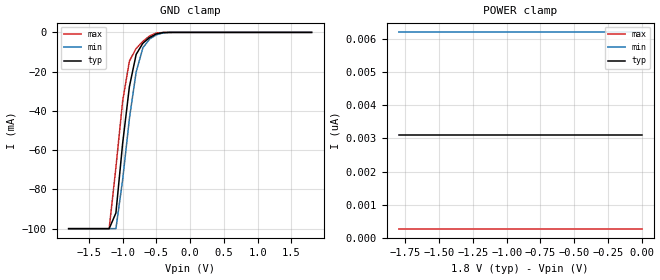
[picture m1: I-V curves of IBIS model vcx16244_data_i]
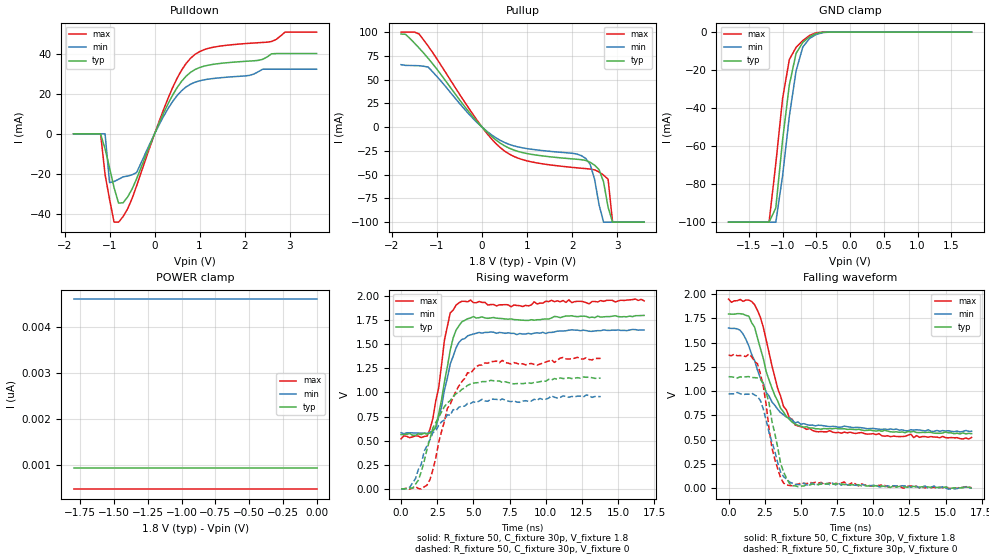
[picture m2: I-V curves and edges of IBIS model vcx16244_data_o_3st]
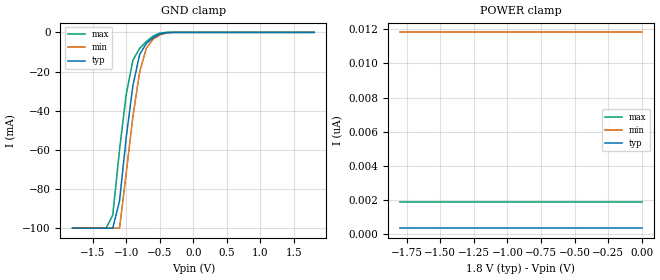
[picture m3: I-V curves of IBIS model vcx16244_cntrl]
|   ON Semiconductor Corporation
|   IBIS Model of 74VCX16244DT
|   Low Voltage 16-Bit Buffer/Line Driver
|   TSSOP_48 (DT) Package Type
[IBIS Ver]   3.2
[Comment Char]   |_char
[File name]   74vcx16244dt_165.ibs
[File Rev]   1.0
[Date]   11/01/02
[Source]
From lab measurements at ON Semiconductor
[Notes]
Created by Duane Mattheisen
Modeling Support Engineer
| This model represents the 74VCX16244DT where 1.65 <= Vcc =< 1.95
[Disclaimer]
ON Semiconductor Corporation hereby grants
the user of this IBIS model a license to use this IBIS
model under the following terms. This license in non-exclusive
and non-transferable. Before using this IBIS model. After reading
the terms and conditions of this license, the user either must accept
these terms, or the IBIS model should be returned to ON within 30 days.
     The user is hereby granted a license to use the
IBIS model. This shall not be construed as a right to sell, or otherwise
profit either by leasing or renting this software.
     The user may modify the IBIS model to suit his specific applications
but rights to derivative works and such modifications shall belong to
ON Semiconductor.
     This IBIS model is provided on an "as is" basis. ON Semiconductor
makes absolutely no warranty with respect to the information contained
herein. By use of this IBIS model, the user assumes full risk as to the
quality and suitability of the model to his particular use, and by using
this model assumes the entire risk. Under all circumstances the user shall
not hold ON Semiconductor liable in any way for the results obtained. ON
Semiconductor reserves the right to make to improve the model for reliability,
function, or design. ON Semiconductor does not convey any license under patent
rights or any other intellectual property rights, including those of third
parties.
ON Semiconductor is not obligated to provide maintenance or support
for the licensed IBIS model.
Cont ON at ATTN:LOGIC APPLICATIONS/IBIS MODEL.
5005 E. McDowell Road, Phoenix AZ 85008
[Copyright]
(c) 2002 ON Semiconductor Corp.
[Component]   74VCX16244
Si_location Pin
Timing_location Pin
[Manufacturer]   ON Semiconductor Corp.
[Package]
R_pkg   130m   100m   140m
L_pkg   3.06n   1.37n   3.57n
C_pkg   0.15p   0.10p   0.20p
[Pin] signal_name   model_name   R_pin   L_pin   C_pin
1   OE1   vcx16244_cntrl   140m   3.56n   .2p
2   O0   vcx16244_data_o_3st  130m   3.34n   .15p
3   o1   vcx16244_data_o_3st  130m   3.07n   .15p
4   GND   GND   130m   2.62n   .13p
5   O2   vcx16244_data_o_3st  120m   2.23n   .1p
6   O3   vcx16244_data_o_3st  120m   1.77n   .1p
7   VCC   POWER   110m   1.65n   .1p
8   O4   vcx16244_data_o_3st  100m   1.59n   .1p
9   O5   vcx16244_data_o_3st  100m   1.53n   .1p
10   GND   GND   100m   1.49n   .1p
11   O6   vcx16244_data_o_3st  100m   1.44n   .1p
12   O7   vcx16244_data_o_3st  100m   1.36n   .1p
13   O8   vcx16244_data_o_3st  100m   1.37n   .1p
14   O9   vcx16244_data_o_3st  100m   1.44n   .1p
15   GND   GND   100m   1.48n   .1p
16   O10   vcx16244_data_o_3st  100m   1.54n   .1p
17   O11   vcx16244_data_o_3st  100m   1.58n   .1p
18   VCC   POWER   110m   1.65n   .1p
19   O12   vcx16244_data_o_3st  120m   1.76n   .1p
20   O13   vcx16244_data_o_3st  120m   2.22n   .1p
21   GND   GND   130m   2.62n   .12p
22   O14   vcx16244_data_o_3st  130m   3.05n   .15p
23   O15   vcx16244_data_o_3st  130m   3.34n   .15p
24   OE4   vcx16244_cntrl   140m   3.57n   .2p
25   OE3   vcx16244_cntrl   140m   3.56n   .2p
26   I15   vcx16244_data_i   130m   3.34n   .25p
27   I14   vcx16244_data_i   130m   3.06n   .15p
28   GND   GND   130m   2.63n   .12p
29   I13   vcx16244_data_i   120m   2.23n   .1p
30   I12   vcx16244_data_i   120m   1.76n   .1p
31   VCC   POWER   110m   1.66n   .1p
32   I11   vcx16244_data_i   100m   1.59n   .1p
33   I10   vcx16244_data_i   100m   1.53n   .1p
34   GND   GND   100m   1.49n   .1p
35   I9   vcx16244_data_i   100m   1.45n   .1p
36   I8   vcx16244_data_i   100m   1.37n   .1p
37   I7   vcx16244_data_i   100m   1.37n   .1p
38   I6   vcx16244_data_i   100m   1.43n   .1p
39   GND   GND   100m   1.49n   .1p
40   I5   vcx16244_data_i   100m   1.54n   .1p
41   I4   vcx16244_data_i   100m   1.58n   .1p
42   VCC   POWER   110m   1.65n   .1p
43   I3   vcx16244_data_i   120m   1.76n   .1p
44   I2   vcx16244_data_i   120m   2.22n   .1p
45   GND   GND   130m   2.62n   .12p
46   I1   vcx16244_data_i   130m   3.05n   .15p
47   I0   vcx16244_data_i   130m   3.34n   .25p
48   OE2   vcx16244_cntrl   140m   3.58n   .2p
| Models and submodels in the file (3): vcx16244_data_i (Input), vcx16244_data_o_3st (3-state), vcx16244_cntrl (Input)
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[Model]   vcx16244_data_i
Model_type Input
Vinh=1.17
Vinl=0.63
C_comp   6p   6p   6p
[Temperature Range] 25   85   -40
[Voltage Range]   1.8   1.65   1.95
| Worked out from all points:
|   GND clamp passes 1 mA (typ) near -0.51 V on its own axis
[GND Clamp]
| VIN   IIN   IIN   IIN
-1.8V     -100mA     -100mA     -100mA
-1.2V     -100mA     -100mA     -100mA
-1.1V     -92.02mA   -100mA     -68.85mA
-1V       -56.51mA   -75.07mA   -34.94mA
-900mV    -27.65mA   -43.87mA   -14.59mA
-800mV    -11.21mA   -20.19mA   -8.195mA
-700mV    -5.498mA   -7.814mA   -4.562mA
-600mV    -2.585mA   -3.361mA   -1.825mA
-500mV    -770.4uA   -1.242mA   -334.8uA
-400mV    -89.23uA   -248.6uA   -14.12uA
1.8V      852.4pA    1.607nA    590.3pA
[POWER Clamp]
| VIN   IIN   IIN   IIN
-1.8V     3.104nA    6.206nA    276pA
-1.7V     3.104nA    6.206nA    276pA
-1.6V     3.104nA    6.206nA    276pA
0V        3.104nA    6.206nA    276pA
|Vmeasure is Vcc/2
[Model]   vcx16244_data_o_3st
Model_type 3-state
Enable Active-Low
Polarity Non-Inverting
Vref=0
Cref=30p
Rref=500
Vmeas=0.90
C_comp   7p   7p   7p
[Temperature Range] 25   85   -40
[Voltage Range]   1.8   1.65   1.95
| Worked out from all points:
|   slope of the pulldown table from 0 to 0.27 V, typ, clamps not added: 19.8 ohm
|   slope of the pullup table from 0 to 0.27 V, typ, clamps not added: 22.3 ohm
|   GND clamp passes 1 mA (typ) near -0.51 V on its own axis
|   falling waveform, R_fixture 50, C_fixture 30p, V_fixture 1.8: 20-80 % time 1.68ns typ, 2.01ns min, 1.6ns max; typ from 1.8 V to 0.563 V
|   falling waveform, R_fixture 50, C_fixture 30p, V_fixture 0: 20-80 % time 934ps typ, 1.07ns min, 910ps max; typ from 1.15 V to 0.002 V
|   rising waveform, R_fixture 50, C_fixture 30p, V_fixture 1.8: 20-80 % time 933ps typ, 1.04ns min, 890ps max; typ from 0.564 V to 1.8 V
|   rising waveform, R_fixture 50, C_fixture 30p, V_fixture 0: 20-80 % time 1.92ns typ, 2.02ns min, 1.75ns max; typ from 0.001 V to 1.15 V
[Pullup]
|VOUT   IOUT   IOUT   IOUT
-1.8V     97.95mA    65.71mA    99.99mA
-1.4V     83.26mA    64.6mA     98.02mA
-1.2V     72.51mA    63.26mA    85.39mA
-100mV    5.182mA    4.39mA     6.524mA
500mV     -19.68mA   -16.18mA   -25.12mA
2.2V      -34.2mA    -29.88mA   -43.22mA
2.4V      -36.94mA   -38.92mA   -44.08mA
2.6V      -44.74mA   -81.81mA   -47.13mA
2.7V      -57.67mA   -100mA     -50.52mA
2.8V      -84.31mA   -100mA     -54.83mA
2.9V      -100mA     -100mA     -100mA
3.6V      -100mA     -100mA     -100mA
[Pulldown]
| VOUT  IOUT   IOUT   IOUT
-1.8V     2.995uA    2.995uA    2.995uA
-1.2V     2.995uA    2.995uA    2.995uA
-1.1V     -7.479mA   2.995uA    -20.23mA
-1V       -16.96mA   -24.32mA   -32.61mA
-900mV    -26.83mA   -23.78mA   -44.02mA
-800mV    -34.51mA   -22.68mA   -44.04mA
-600mV    -31.52mA   -21.07mA   -37.42mA
-400mV    -22.45mA   -19.32mA   -25.97mA
300mV     14.99mA    12.59mA    17.72mA
800mV     30.65mA    24.76mA    37.68mA
2.9V      40.01mA    32.19mA    50.71mA
3.6V      40.01mA    32.19mA    50.71mA
[GND Clamp]
| VOUT  IOUT   IOUT   IOUT
-1.8V     -100mA     -100mA     -100mA
-1.2V     -100mA     -100mA     -100mA
-1.1V     -92.52mA   -100mA     -69.16mA
-1V       -56.86mA   -75.68mA   -35.07mA
-900mV    -27.85mA   -44.35mA   -14.46mA
-800mV    -11.19mA   -20.46mA   -8.027mA
-700mV    -5.415mA   -7.842mA   -4.453mA
-600mV    -2.532mA   -3.327mA   -1.769mA
-500mV    -747.9uA   -1.221mA   -315.7uA
-400mV    -84.78uA   -242.4uA   -12.76uA
1.8V      968.3pA    1.207nA    804.6pA
[POWER Clamp]
| VOUT  IOUT   IOUT   IOUT
-1.8V     939.3pA    4.606nA    475pA
-1.7V     939.3pA    4.606nA    475pA
-1.6V     939.3pA    4.606nA    475pA
0V        939.3pA    4.606nA    475pA
[Ramp]
dV/dt_r   .6630E+0/2.090E-9  .5740E+0/2.230E-9  .800E+0/1.840E-9
dV/dt_f   .7390E+0/1.720E-9  .6480E+0/2.130E-9  .845E+0/1.560E-9
[Falling Waveform]
R_fixture=50
C_fixture=30p
V_fixture=1.8
V_fixture_min=1.65
V_fixture_max=1.95
| Time   Typ   Min   Max
| SECONDS   VOLTS   VOLTS   VOLTS
0s        1.797V     1.652V     1.95V
1ns       1.795V     1.591V     1.926V
1.4ns     1.774V     1.467V     1.94V
1.8ns     1.66V      1.317V     1.892V
2.4ns     1.339V     1.084V     1.661V
3.2ns     956.3mV    855mV      1.146V
3.8ns     785.2mV    757.9mV    843.2mV
4.6ns     662.4mV    674mV      651.6mV
6.2ns     612.5mV    649.5mV    581.4mV
16.8ns    562.8mV    587.2mV    523.3mV
[Falling Waveform]
R_fixture=50
C_fixture=30p
V_fixture=0
| Time   Typ   Min   Max
| SECONDS   VOLTS   VOLTS   VOLTS
0s        1.15V      971.2mV    1.371V
1.4ns     1.151V     969.4mV    1.383V
2ns       1.136V     945.7mV    1.283V
2.4ns     1.079V     817.9mV    1.052V
2.8ns     879.2mV    572.8mV    612.4mV
3ns       689.9mV    476.8mV    414.8mV
3.6ns     255.6mV    166.3mV    108.6mV
4ns       105.2mV    95.21mV    34.83mV
4.8ns     16.14mV    38.66mV    41.23mV
16.8ns    1.675mV    693.5uV    4.778mV
[Rising Waveform]
R_fixture=50
C_fixture=30p
V_fixture=1.8
V_fixture_min=1.65
V_fixture_max=1.95
| Time   Typ   Min   Max
| SECONDS   VOLTS   VOLTS   VOLTS
0s        563.6mV    581.6mV    519.2mV
1.8ns     567.1mV    574.2mV    547.8mV
2.2ns     599.3mV    604.1mV    730.7mV
2.4ns     645mV      634.9mV    914mV
2.6ns     776.2mV    745.2mV    1.046V
3ns       1.109V     1.025V     1.545V
3.4ns     1.438V     1.295V     1.825V
4ns       1.691V     1.518V     1.928V
5.4ns     1.775V     1.622V     1.943V
16.8ns    1.798V     1.647V     1.949V
[Rising Waveform]
R_fixture=50
C_fixture=30p
V_fixture=0
| Time   Typ   Min   Max
| SECONDS   VOLTS   VOLTS   VOLTS
0s        651.3uV    1.016mV    1.09mV
600ps     9.609mV    16.64mV    -2.866mV
1.2ns     91.58mV    203.4mV    3.398mV
1.8ns     414.9mV    448.8mV    39mV
2.2ns     631.3mV    583.4mV    198.6mV
3.2ns     891.2mV    767.5mV    833.9mV
4.6ns     1.074V     886.5mV    1.204V
5.2ns     1.101V     895.3mV    1.268V
7ns       1.103V     932.6mV    1.332V
13.8ns    1.148V     956.6mV    1.352V
[Model]   vcx16244_cntrl
Model_type Input
Vinh=1.17
Vinl=0.63
C_comp   6p   6p   6p
[Temperature Range] 25   85   -40
[Voltage Range]   1.8   1.65   1.95
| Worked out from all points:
|   GND clamp passes 1 mA (typ) near -0.51 V on its own axis
[GND Clamp]
| VIN   IIN   IIN   IIN
-1.8V     -100mA     -100mA     -100mA
-1.3V     -100mA     -100mA     -100mA
-1.2V     -100mA     -100mA     -93.3mA
-1.1V     -86.14mA   -100mA     -60.04mA
-1V       -53.7mA    -71.93mA   -31.6mA
-900mV    -27.05mA   -42.75mA   -14.15mA
-800mV    -11.35mA   -20.26mA   -8.194mA
-700mV    -5.622mA   -8.048mA   -4.63mA
-600mV    -2.695mA   -3.493mA   -1.91mA
-500mV    -843.2uA   -1.328mA   -377.7uA
-400mV    -107.7uA   -283.1uA   -18.27uA
1.8V      1.396nA    1.38nA     984.5pA
[POWER Clamp]
| VIN   IIN   IIN   IIN
-1.8V     352pA      11.82nA    1.902nA
-1.7V     352pA      11.82nA    1.902nA
-1.6V     352pA      11.82nA    1.902nA
0V        352pA      11.82nA    1.902nA
